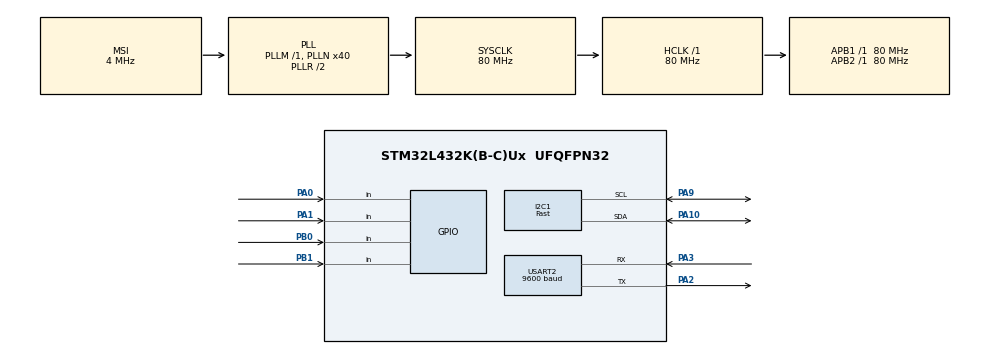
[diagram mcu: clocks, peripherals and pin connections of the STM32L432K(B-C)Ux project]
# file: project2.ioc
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FREERTOS.BinarySemaphores01=myBinarySem01,Dynamic,NULL;myBinarySem02,Dynamic,NULL
FREERTOS.Mutexes01=myMutex01,Dynamic,NULL;myMutex02,Dynamic,NULL
FREERTOS.Queues01=myQueue01,16,uint16_t,0,Dynamic,NULL,NULL;myQueue02,16,uint16_t,0,Dynamic,NULL,NULL
FREERTOS.Tasks01=defaultTask,24,128,StartDefaultTask,Default,NULL,Dynamic,NULL,NULL;myTask02,24,128,StartTask02,Default,NULL,Dynamic,NULL,NULL;myTask03,24,128,StartTask03,Default,NULL,Dynamic,NULL,NULL;myTask04,24,128,StartTask04,Default,NULL,Dynamic,NULL,NULL;myTask05,24,128,StartTask05,Default,NULL,Dynamic,NULL,NULL
FREERTOS.configTOTAL_HEAP_SIZE=4000
I2C1.I2C_Speed_Mode=I2C_Fast
I2C1.Timing=0x00702991
Mcu.Family=STM32L4
Mcu.Name=STM32L432K(B-C)Ux
Mcu.Package=UFQFPN32
NVIC.PriorityGroup=NVIC_PRIORITYGROUP_4
NVIC.TIM1_UP_TIM16_IRQn=true\:0\:0\:false\:false\:true\:false\:false\:true
NVIC.TimeBase=TIM1_UP_TIM16_IRQn
NVIC.TimeBaseIP=TIM1
PA0.Signal=GPIO_Input
PA1.Signal=GPIO_Input
PA10.Mode=I2C
PA10.Signal=I2C1_SDA
PA13\ (JTMS-SWDIO).Mode=Serial_Wire
PA13\ (JTMS-SWDIO).Signal=SYS_JTMS-SWDIO
PA14\ (JTCK-SWCLK).Mode=Serial_Wire
PA14\ (JTCK-SWCLK).Signal=SYS_JTCK-SWCLK
PA2.Mode=Asynchronous
PA2.Signal=USART2_TX
PA3.Mode=Asynchronous
PA3.Signal=USART2_RX
PA9.Mode=I2C
PA9.Signal=I2C1_SCL
PB0.Signal=GPIO_Input
PB1.Signal=GPIO_Input
PC14-OSC32_IN\ (PC14).Mode=LSE-External-Oscillator
PC14-OSC32_IN\ (PC14).Signal=RCC_OSC32_IN
PC15-OSC32_OUT\ (PC15).Mode=LSE-External-Oscillator
PC15-OSC32_OUT\ (PC15).Signal=RCC_OSC32_OUT
ProjectManager.HeapSize=0x200
ProjectManager.StackSize=0x400
ProjectManager.TargetToolchain=MDK-ARM V5
RCC.AHBFreq_Value=80000000
RCC.APB1Freq_Value=80000000
RCC.APB1TimFreq_Value=80000000
RCC.APB2Freq_Value=80000000
RCC.APB2TimFreq_Value=80000000
RCC.CortexFreq_Value=80000000
RCC.HCLKFreq_Value=80000000
RCC.HSE_VALUE=8000000
RCC.HSI48_VALUE=48000000
RCC.HSI_VALUE=16000000
RCC.MSI_VALUE=4000000
RCC.PLLN=40
RCC.SYSCLKFreq_VALUE=80000000
RCC.SYSCLKSource=RCC_SYSCLKSOURCE_PLLCLK
RCC.VCOOutputFreq_Value=160000000
USART2.BaudRate=9600
USART2.VirtualMode-Asynchronous=VM_ASYNC
VP_FREERTOS_VS_CMSIS_V2.Mode=CMSIS_V2
VP_SYS_VS_tim1.Mode=TIM1
board=custom

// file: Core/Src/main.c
/* USER CODE BEGIN Header */
/**
  ******************************************************************************
  * @file           : main.c
  * @brief          : Main program body
  ******************************************************************************
  * @attention
  *
  * <h2><center>&copy; Copyright (c) 2021 STMicroelectronics.
  * All rights reserved.</center></h2>
  *
  * This software component is licensed by ST under BSD 3-Clause license,
  * the "License"; You may not use this file except in compliance with the
  * License. You may obtain a copy of the License at:
  *                        opensource.org/licenses/BSD-3-Clause
  *
  ******************************************************************************
  */
/* USER CODE END Header */
#include "main.h"
#include "cmsis_os.h"

/* USER CODE BEGIN Includes */
#include "ssd1306.h"
#include "fonts.h"
/* USER CODE END Includes */

I2C_HandleTypeDef hi2c1;

UART_HandleTypeDef huart2;

/* Definitions for defaultTask */
osThreadId_t defaultTaskHandle;
const osThreadAttr_t defaultTask_attributes = {
  .name = "defaultTask",
  .stack_size = 128 * 4,
  .priority = (osPriority_t) osPriorityNormal,
};
/* Definitions for myTask02 */
osThreadId_t myTask02Handle;
const osThreadAttr_t myTask02_attributes = {
  .name = "myTask02",
  .stack_size = 128 * 4,
  .priority = (osPriority_t) osPriorityNormal,
};
/* Definitions for myTask03 */
osThreadId_t myTask03Handle;
const osThreadAttr_t myTask03_attributes = {
  .name = "myTask03",
  .stack_size = 128 * 4,
  .priority = (osPriority_t) osPriorityNormal,
};
/* Definitions for myTask04 */
osThreadId_t myTask04Handle;
const osThreadAttr_t myTask04_attributes = {
  .name = "myTask04",
  .stack_size = 128 * 4,
  .priority = (osPriority_t) osPriorityNormal,
};
/* Definitions for myTask05 */
osThreadId_t myTask05Handle;
const osThreadAttr_t myTask05_attributes = {
  .name = "myTask05",
  .stack_size = 128 * 4,
  .priority = (osPriority_t) osPriorityNormal,
};
/* Definitions for myQueue01 */
osMessageQueueId_t myQueue01Handle;
const osMessageQueueAttr_t myQueue01_attributes = {
  .name = "myQueue01"
};
/* Definitions for myQueue02 */
osMessageQueueId_t myQueue02Handle;
const osMessageQueueAttr_t myQueue02_attributes = {
  .name = "myQueue02"
};
/* Definitions for myMutex01 */
osMutexId_t myMutex01Handle;
const osMutexAttr_t myMutex01_attributes = {
  .name = "myMutex01"
};
/* Definitions for myMutex02 */
osMutexId_t myMutex02Handle;
const osMutexAttr_t myMutex02_attributes = {
  .name = "myMutex02"
};
/* Definitions for myBinarySem01 */
osSemaphoreId_t myBinarySem01Handle;
const osSemaphoreAttr_t myBinarySem01_attributes = {
  .name = "myBinarySem01"
};
/* Definitions for myBinarySem02 */
osSemaphoreId_t myBinarySem02Handle;
const osSemaphoreAttr_t myBinarySem02_attributes = {
  .name = "myBinarySem02"
};
/* USER CODE BEGIN PV */

	typedef struct {
	GPIO_TypeDef* port;
	uint16_t pin;
	char status;
	char* name; /* like "slot 1" */
	}slot;

	uint8_t nl[2] ="\r\n";

	int slots_num=2; /*number of slots*/

	uint8_t check;

/* USER CODE END PV */

void SystemClock_Config(void);
static void MX_GPIO_Init(void);
static void MX_USART2_UART_Init(void);
static void MX_I2C1_Init(void);
void StartDefaultTask(void *argument);
void StartTask02(void *argument);
void StartTask03(void *argument);
void StartTask04(void *argument);
void StartTask05(void *argument);

/* USER CODE BEGIN PFP */
void readSensors(slot slots[4]);

/* USER CODE END PFP */

/* USER CODE BEGIN 0 */

void readSensors(slot slots[4])
{

for (int i=0;i<slots_num;i++)
	{
	if(HAL_GPIO_ReadPin(slots[i].port , slots[i].pin)== GPIO_PIN_RESET) /*obstacle is detected*/
		slots[i].status='F';
	else
		slots[i].status='E';

	HAL_UART_Transmit(&huart2,slots[i].name,10,5000);
	HAL_UART_Transmit(&huart2,&slots[i].status,1,5000);
	HAL_UART_Transmit(&huart2,nl,2,5000);

	}

}
/* USER CODE END 0 */

int main(void)
{

  /* MCU Configuration--------------------------------------------------------*/

  /* Reset of all peripherals, Initializes the Flash interface and the Systick. */
  HAL_Init();

  /* Configure the system clock */
  SystemClock_Config();

  /* Initialize all configured peripherals */
  MX_GPIO_Init();
  MX_USART2_UART_Init();
  MX_I2C1_Init();
  /* USER CODE BEGIN 2 */

	SSD1306_Init();

	SSD1306_Clear ();
	//check = SSD1306_Init ();
	SSD1306_Fill (0); 												//fill color 0 ie black
	SSD1306_UpdateScreen();										//print the changes on the display

	SSD1306_GotoXY (0,0); 										//Goto 0,0
	SSD1306_Puts("HELLO", &Font_11x18, 0x01);		//puts HELLO on the display with color ie blue
	SSD1306_UpdateScreen();										//print the changes on the display
//
//	SSD1306_GotoXY (10,0); 										//Goto 10,10
//	SSD1306_Puts("WORLD", &Font_11x18, 1);		//puts WORLD on the display
//
//	SSD1306_UpdateScreen();										//print the changes on the display
//
//	HAL_Delay (1000);
//	//Clear the screen
//	SSD1306_Fill(0); 												//fill color 0 ie black
//	SSD1306_UpdateScreen();										//print the changes on the display
//	SSD1306_DrawCircle (20,10,5,1);						//Draw circle
//	SSD1306_UpdateScreen();										//print the changes on the display
//
//	SSD1306_DrawFilledRectangle(60,40,20,30,1);
//	SSD1306_UpdateScreen();										//print the changes on the display

  /* USER CODE END 2 */

  /* Init scheduler */
  osKernelInitialize();
  /* Create the mutex(es) */
  /* creation of myMutex01 */
  myMutex01Handle = osMutexNew(&myMutex01_attributes);

  /* creation of myMutex02 */
  myMutex02Handle = osMutexNew(&myMutex02_attributes);

  /* Create the semaphores(s) */
  /* creation of myBinarySem01 */
  myBinarySem01Handle = osSemaphoreNew(1, 1, &myBinarySem01_attributes);

  /* creation of myBinarySem02 */
  myBinarySem02Handle = osSemaphoreNew(1, 1, &myBinarySem02_attributes);

  /* Create the queue(s) */
  /* creation of myQueue01 */
  myQueue01Handle = osMessageQueueNew (16, sizeof(uint16_t), &myQueue01_attributes);

  /* creation of myQueue02 */
  myQueue02Handle = osMessageQueueNew (16, sizeof(uint16_t), &myQueue02_attributes);

  /* Create the thread(s) */
  /* creation of defaultTask */
  defaultTaskHandle = osThreadNew(StartDefaultTask, NULL, &defaultTask_attributes);

  /* creation of myTask02 */
  myTask02Handle = osThreadNew(StartTask02, NULL, &myTask02_attributes);

  /* creation of myTask03 */
  myTask03Handle = osThreadNew(StartTask03, NULL, &myTask03_attributes);

  /* creation of myTask04 */
  myTask04Handle = osThreadNew(StartTask04, NULL, &myTask04_attributes);

  /* creation of myTask05 */
  myTask05Handle = osThreadNew(StartTask05, NULL, &myTask05_attributes);

  /* Start scheduler */
  osKernelStart();

  /* We should never get here as control is now taken by the scheduler */
  /* Infinite loop */
  /* USER CODE BEGIN WHILE */

  while (1)
  {

//		readSensors(slots);

//		HAL_Delay(1000);
    /* USER CODE END WHILE */

  }
}

void SystemClock_Config(void)
{
  RCC_OscInitTypeDef RCC_OscInitStruct = {0};
  RCC_ClkInitTypeDef RCC_ClkInitStruct = {0};
  RCC_PeriphCLKInitTypeDef PeriphClkInit = {0};

  /** Configure LSE Drive Capability
  */
  HAL_PWR_EnableBkUpAccess();
  __HAL_RCC_LSEDRIVE_CONFIG(RCC_LSEDRIVE_LOW);
  /** Initializes the RCC Oscillators according to the specified parameters
  * in the RCC_OscInitTypeDef structure.
  */
  RCC_OscInitStruct.OscillatorType = RCC_OSCILLATORTYPE_LSE|RCC_OSCILLATORTYPE_MSI;
  RCC_OscInitStruct.LSEState = RCC_LSE_ON;
  RCC_OscInitStruct.MSIState = RCC_MSI_ON;
  RCC_OscInitStruct.MSICalibrationValue = 0;
  RCC_OscInitStruct.MSIClockRange = RCC_MSIRANGE_6;
  RCC_OscInitStruct.PLL.PLLState = RCC_PLL_ON;
  RCC_OscInitStruct.PLL.PLLSource = RCC_PLLSOURCE_MSI;
  RCC_OscInitStruct.PLL.PLLM = 1;
  RCC_OscInitStruct.PLL.PLLN = 40;
  RCC_OscInitStruct.PLL.PLLP = RCC_PLLP_DIV7;
  RCC_OscInitStruct.PLL.PLLQ = RCC_PLLQ_DIV2;
  RCC_OscInitStruct.PLL.PLLR = RCC_PLLR_DIV2;
  if (HAL_RCC_OscConfig(&RCC_OscInitStruct) != HAL_OK)
  {
    Error_Handler();
  }
  /** Initializes the CPU, AHB and APB buses clocks
  */
  RCC_ClkInitStruct.ClockType = RCC_CLOCKTYPE_HCLK|RCC_CLOCKTYPE_SYSCLK
                              |RCC_CLOCKTYPE_PCLK1|RCC_CLOCKTYPE_PCLK2;
  RCC_ClkInitStruct.SYSCLKSource = RCC_SYSCLKSOURCE_PLLCLK;
  RCC_ClkInitStruct.AHBCLKDivider = RCC_SYSCLK_DIV1;
  RCC_ClkInitStruct.APB1CLKDivider = RCC_HCLK_DIV1;
  RCC_ClkInitStruct.APB2CLKDivider = RCC_HCLK_DIV1;

  if (HAL_RCC_ClockConfig(&RCC_ClkInitStruct, FLASH_LATENCY_4) != HAL_OK)
  {
    Error_Handler();
  }
  PeriphClkInit.PeriphClockSelection = RCC_PERIPHCLK_USART2|RCC_PERIPHCLK_I2C1;
  PeriphClkInit.Usart2ClockSelection = RCC_USART2CLKSOURCE_PCLK1;
  PeriphClkInit.I2c1ClockSelection = RCC_I2C1CLKSOURCE_PCLK1;
  if (HAL_RCCEx_PeriphCLKConfig(&PeriphClkInit) != HAL_OK)
  {
    Error_Handler();
  }
  /** Configure the main internal regulator output voltage
  */
  if (HAL_PWREx_ControlVoltageScaling(PWR_REGULATOR_VOLTAGE_SCALE1) != HAL_OK)
  {
    Error_Handler();
  }
  /** Enable MSI Auto calibration
  */
  HAL_RCCEx_EnableMSIPLLMode();
}

static void MX_I2C1_Init(void)
{

  hi2c1.Instance = I2C1;
  hi2c1.Init.Timing = 0x00702991;
  hi2c1.Init.OwnAddress1 = 0;
  hi2c1.Init.AddressingMode = I2C_ADDRESSINGMODE_7BIT;
  hi2c1.Init.DualAddressMode = I2C_DUALADDRESS_DISABLE;
  hi2c1.Init.OwnAddress2 = 0;
  hi2c1.Init.OwnAddress2Masks = I2C_OA2_NOMASK;
  hi2c1.Init.GeneralCallMode = I2C_GENERALCALL_DISABLE;
  hi2c1.Init.NoStretchMode = I2C_NOSTRETCH_DISABLE;
  if (HAL_I2C_Init(&hi2c1) != HAL_OK)
  {
    Error_Handler();
  }
  /** Configure Analogue filter
  */
  if (HAL_I2CEx_ConfigAnalogFilter(&hi2c1, I2C_ANALOGFILTER_ENABLE) != HAL_OK)
  {
    Error_Handler();
  }
  /** Configure Digital filter
  */
  if (HAL_I2CEx_ConfigDigitalFilter(&hi2c1, 0) != HAL_OK)
  {
    Error_Handler();
  }

}

static void MX_USART2_UART_Init(void)
{

  huart2.Instance = USART2;
  huart2.Init.BaudRate = 9600;
  huart2.Init.WordLength = UART_WORDLENGTH_8B;
  huart2.Init.StopBits = UART_STOPBITS_1;
  huart2.Init.Parity = UART_PARITY_NONE;
  huart2.Init.Mode = UART_MODE_TX_RX;
  huart2.Init.HwFlowCtl = UART_HWCONTROL_NONE;
  huart2.Init.OverSampling = UART_OVERSAMPLING_16;
  huart2.Init.OneBitSampling = UART_ONE_BIT_SAMPLE_DISABLE;
  huart2.AdvancedInit.AdvFeatureInit = UART_ADVFEATURE_NO_INIT;
  if (HAL_UART_Init(&huart2) != HAL_OK)
  {
    Error_Handler();
  }

}

static void MX_GPIO_Init(void)
{
  GPIO_InitTypeDef GPIO_InitStruct = {0};

  /* GPIO Ports Clock Enable */
  __HAL_RCC_GPIOC_CLK_ENABLE();
  __HAL_RCC_GPIOA_CLK_ENABLE();
  __HAL_RCC_GPIOB_CLK_ENABLE();

  /*Configure GPIO pins : PA0 PA1 */
  GPIO_InitStruct.Pin = GPIO_PIN_0|GPIO_PIN_1;
  GPIO_InitStruct.Mode = GPIO_MODE_INPUT;
  GPIO_InitStruct.Pull = GPIO_NOPULL;
  HAL_GPIO_Init(GPIOA, &GPIO_InitStruct);

  /*Configure GPIO pins : PB0 PB1 */
  GPIO_InitStruct.Pin = GPIO_PIN_0|GPIO_PIN_1;
  GPIO_InitStruct.Mode = GPIO_MODE_INPUT;
  GPIO_InitStruct.Pull = GPIO_NOPULL;
  HAL_GPIO_Init(GPIOB, &GPIO_InitStruct);

}

void StartDefaultTask(void *argument)
{
  for(;;)
  {
    osDelay(1);
  }
}

void StartTask02(void *argument)
{
  /* USER CODE BEGIN StartTask02 */

	slot slots[4];

	slots[0].name = "Slot 1";
	slots[0].port= GPIOA;
	slots[0].pin=GPIO_PIN_0;
	slots[0].status='E';

	slots[1].name = "Slot 2";
	slots[1].port= GPIOA;
	slots[1].pin=GPIO_PIN_1;
	slots[1].status='E';

	slots[2].name = "Slot 3";
	slots[2].port= GPIOB;
	slots[2].pin=GPIO_PIN_0;
	slots[2].status='E';

	slots[3].name = "Slot 4";
	slots[3].port= GPIOB;
	slots[3].pin=GPIO_PIN_1;
	slots[3].status='E';

  /* Infinite loop */
  for(;;)
  {
		readSensors(slots);
    osDelay(1000); /*read sensors every 1 sec*/
  }
  /* USER CODE END StartTask02 */
}

void StartTask03(void *argument)
{
  /* USER CODE BEGIN StartTask03 */
  /* Infinite loop */
	SSD1306_Clear ();

  for(;;)
  {
			if (HAL_GPIO_ReadPin(GPIOA, GPIO_PIN_0) == GPIO_PIN_RESET)
		{
		//	SSD1306_Clear ();
			SSD1306_UpdateScreen();										//print the changes on the display
			SSD1306_GotoXY (0,0); 										//Goto 0,0
			SSD1306_Puts("P1", &Font_11x18, 1);		//puts WORLD on the display
			SSD1306_GotoXY (0,30); 										//Goto 10,10
			SSD1306_Puts("F", &Font_11x18, 1);		//puts WORLD on the display
			SSD1306_UpdateScreen();										//print the changes on the display
		}
		else
		{
		//	SSD1306_Clear ();
			SSD1306_UpdateScreen();										//print the changes on the display
			SSD1306_GotoXY (0,0); 										//Goto 0,0
			SSD1306_Puts("P1", &Font_11x18, 1);		//puts WORLD on the display
			SSD1306_GotoXY (0,30); 										//Goto 10,10
			SSD1306_Puts("E", &Font_11x18, 1);		//puts WORLD on the display
			SSD1306_UpdateScreen();										//print the changes on the display
		}
			if (HAL_GPIO_ReadPin(GPIOA, GPIO_PIN_1) == GPIO_PIN_RESET)
		{
			//SSD1306_Clear ();
			SSD1306_UpdateScreen();										//print the changes on the display
			SSD1306_GotoXY (30,0); 										//Goto 0,0
			SSD1306_Puts("P2", &Font_11x18, 1);		//puts WORLD on the display
			SSD1306_GotoXY (30,30); 										//Goto 10,10
			SSD1306_Puts("F", &Font_11x18, 1);		//puts WORLD on the display
			SSD1306_UpdateScreen();										//print the changes on the display
		}
		else
		{
			//SSD1306_Clear ();
			SSD1306_UpdateScreen();										//print the changes on the display
			SSD1306_GotoXY (30,0); 										//Goto 0,0
			SSD1306_Puts("P2", &Font_11x18, 1);		//puts WORLD on the display
			SSD1306_GotoXY (30,30); 										//Goto 10,10
			SSD1306_Puts("E", &Font_11x18, 1);		//puts WORLD on the display
			SSD1306_UpdateScreen();										//print the changes on the display
		}
    osDelay(500);
  }
  /* USER CODE END StartTask03 */
}

void StartTask04(void *argument)
{
  for(;;)
  {
    osDelay(1);
  }
}

void StartTask05(void *argument)
{
  for(;;)
  {
    osDelay(1);
  }
}

 /**
  * @brief  Period elapsed callback in non blocking mode
  * @note   This function is called  when TIM1 interrupt took place, inside
  * HAL_TIM_IRQHandler(). It makes a direct call to HAL_IncTick() to increment
  * a global variable "uwTick" used as application time base.
  * @param  htim : TIM handle
  * @retval None
  */
void HAL_TIM_PeriodElapsedCallback(TIM_HandleTypeDef *htim)
{
  if (htim->Instance == TIM1) {
    HAL_IncTick();
  }
}

void Error_Handler(void)
{
  __disable_irq();
  while (1)
  {
  }
}

/************************ (C) COPYRIGHT STMicroelectronics *****END OF FILE****/
